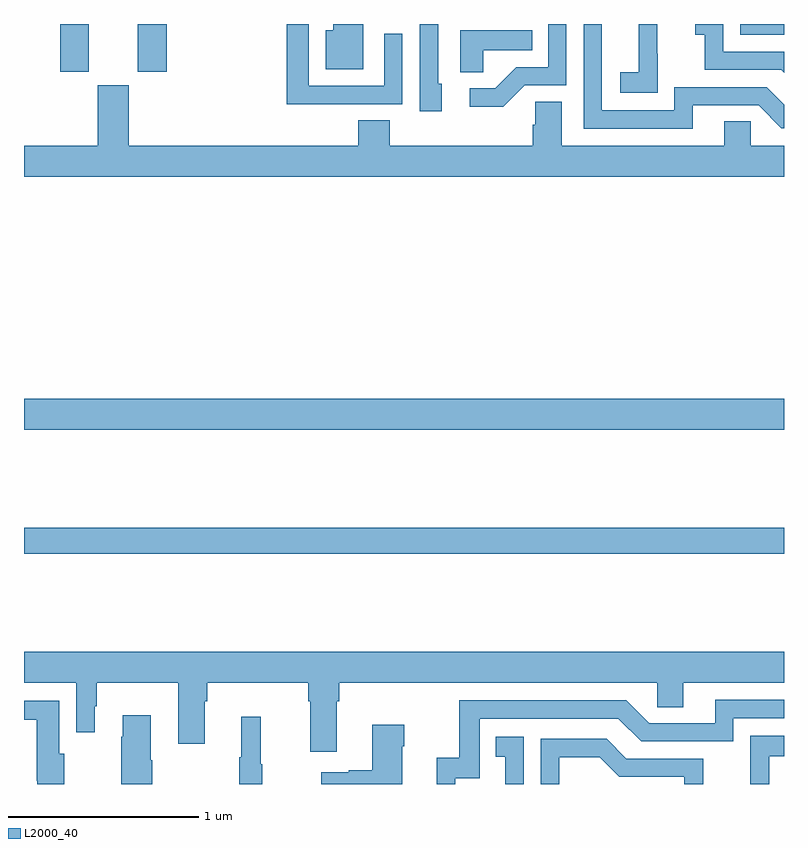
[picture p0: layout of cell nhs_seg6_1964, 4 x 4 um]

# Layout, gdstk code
import gdstk
lib = gdstk.Library(unit=1e-6, precision=1e-09)
def R(c, l, rs):  # rectangles x0, y0, x1, y1
    for r in rs: c.add(gdstk.rectangle(r[:2], r[2:], *l))
def P(c, l, *ps):  # polygons
    for p in ps: c.add(gdstk.Polygon(p, *l))
L2000_40 = (2000, 40)

nhs_seg6_1964 = lib.new_cell('nhs_seg6_1964')
R(nhs_seg6_1964, L2000_40, [(229,918.712,233,918.848), (229,919.364,233,919.528), (229.19,921.249,229.342,921.5), (229.598,921.249,229.751,921.5), (232.77,921.444,233,921.5)])
P(nhs_seg6_1964, L2000_40, [(230.675,921.078),(230.991,921.078),(230.991,921.448),(230.895,921.448),(230.895,921.174),(230.499,921.174),(230.499,921.5),(230.383,921.5),(230.383,921.077),(230.675,921.077)],
  [(231.199,921.186),(231.18,921.186),(231.18,921.5),(231.084,921.5),(231.084,921.042),(231.199,921.042)],
  [(231.636,921.177),(231.855,921.177),(231.855,921.5),(231.759,921.5),(231.759,921.273),(231.59,921.273),(231.479,921.162),(231.345,921.162),(231.345,921.065),(231.523,921.065)],
  [(232.335,921.343),(232.334,921.343),(232.334,921.5),(232.236,921.5),(232.236,921.476),(232.235,921.476),(232.235,921.247),(232.137,921.247),(232.137,921.137),(232.335,921.137)],
  [(230.785,921.5),(230.627,921.5),(230.627,921.466),(230.588,921.466),(230.588,921.263),(230.785,921.263)],
  [(232.519,921.072),(232.866,921.072),(232.986,920.952),(233,920.952),(233,921.076),(232.908,921.168),(232.422,921.168),(232.422,921.045),(232.041,921.045),(232.041,921.5),(231.945,921.5),(231.945,920.949),(232.519,920.949)],
  [(233,921.354),(232.68,921.354),(232.68,921.5),(232.533,921.5),(232.533,921.443),(232.582,921.443),(232.582,921.258),(232.985,921.258),(233,921.243)],
  [(231.417,921.362),(231.674,921.362),(231.674,921.466),(231.296,921.466),(231.296,921.247),(231.417,921.247)],
  [(230.759,920.993),(230.759,920.86),(229.552,920.86),(229.552,921.177),(229.388,921.177),(229.388,920.86),(229,920.86),(229,920.696),(233,920.696),(233,920.86),(232.824,920.86),(232.824,920.987),(232.685,920.987),(232.685,920.86),(231.829,920.86),(231.829,921.092),(231.69,921.092),(231.69,920.969),(231.677,920.969),(231.677,920.86),(230.924,920.86),(230.924,920.993)],
  [(230.647,917.936),(230.66,917.936),(230.66,918.032),(232.332,918.032),(232.332,917.905),(232.471,917.905),(232.471,918.032),(233,918.032),(233,918.196),(229,918.196),(229,918.032),(229.275,918.032),(229.275,917.772),(229.372,917.772),(229.372,917.91),(229.384,917.91),(229.384,918.032),(229.811,918.032),(229.811,917.712),(229.951,917.712),(229.951,917.936),(229.964,917.936),(229.964,918.032),(230.495,918.032),(230.495,917.936),(230.507,917.936),(230.507,917.67),(230.647,917.67)],
  [(231.27,917.529),(231.399,917.529),(231.399,917.844),(232.128,917.844),(232.248,917.724),(232.734,917.724),(232.734,917.847),(233,917.847),(233,917.943),(232.637,917.943),(232.637,917.82),(232.29,917.82),(232.17,917.94),(231.291,917.94),(231.291,917.638),(231.173,917.638),(231.173,917.5),(231.27,917.5)],
  [(229.212,917.658),(229.186,917.658),(229.186,917.938),(229,917.938),(229,917.837),(229.067,917.837),(229.067,917.518),(229.071,917.518),(229.071,917.5),(229.212,917.5)],
  [(229.674,917.624),(229.666,917.624),(229.666,917.863),(229.52,917.863),(229.52,917.75),(229.513,917.75),(229.513,917.5),(229.674,917.5)],
  [(230.254,917.604),(230.246,917.604),(230.246,917.854),(230.144,917.854),(230.144,917.641),(230.133,917.641),(230.133,917.5),(230.254,917.5)],
  [(230.992,917.699),(231,917.699),(231,917.812),(230.834,917.812),(230.834,917.573),(230.708,917.573),(230.708,917.563),(230.565,917.563),(230.565,917.5),(230.992,917.5)],
  [(232.922,917.645),(233,917.645),(233,917.755),(232.822,917.755),(232.822,917.549),(232.823,917.549),(232.823,917.5),(232.922,917.5)],
  [(231.63,917.749),(231.484,917.749),(231.484,917.643),(231.533,917.643),(231.533,917.5),(231.63,917.5)],
  [(231.816,917.642),(232.03,917.642),(232.134,917.538),(232.476,917.538),(232.476,917.5),(232.575,917.5),(232.575,917.634),(232.171,917.634),(232.066,917.739),(231.72,917.739),(231.72,917.5),(231.816,917.5)])

lib.write_gds('nhs_seg6_1964.gds')
